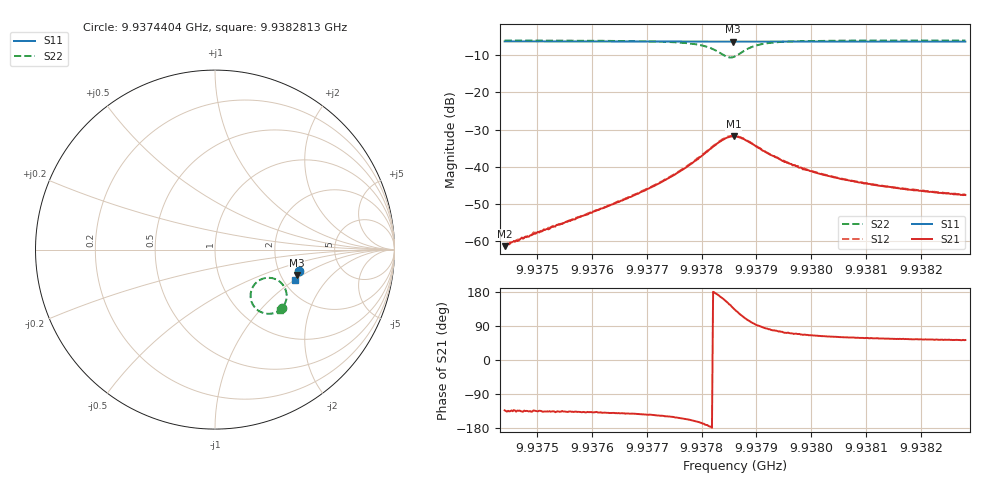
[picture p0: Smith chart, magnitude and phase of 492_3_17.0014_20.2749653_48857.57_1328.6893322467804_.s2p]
#  HZ  S  RI  R  50.00
! Rohde & Schwarz Vector Network Analyzer
! Rohde-Schwarz,ZNB20-2Port,1311601062101988,3.16
! Created: UTC 3/20/2024, 11:14:08 PM
! freq[Hz]  re:S11  im:S11  re:S21  im:S21  re:S12  im:S12  re:S22  im:S22
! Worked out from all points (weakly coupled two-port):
!   401 points, 9.9374404 GHz to 9.9382813 GHz, reference 50 ohm
!   highest |S21| = -31.79 dB at 9.9378587 GHz (marker M1); lowest = -61.3 dB at 9.9374404 GHz (marker M2)
!   lowest |S11| = -6.4 dB at 9.9378566 GHz (marker M3), VSWR 2.83, Z = 122 - j45.3 ohm
!   |S11| at or under -10 dB: nowhere
!   |S22| runs from -10.6 to -6.1 dB; largest |S21 - S12| = 0.0014
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9.9374404e9  0.4685 -0.1178  -0.000586 -0.000632  -0.000615 -0.000626  0.3749 -0.3261
9.93749716e9  0.4671 -0.1216  -0.000892 -0.000906  -0.000955 -0.000896  0.3694 -0.3306
9.93750767e9  0.467 -0.1222  -0.000954 -0.000959  -0.000988 -0.000972  0.3683 -0.3317
9.93758125e9  0.4652 -0.1272  -0.00162 -0.00146  -0.00164 -0.00147  0.3593 -0.3384
9.93766744e9  0.4631 -0.133  -0.00306 -0.00243  -0.00314 -0.00243  0.3423 -0.3481
9.93772209e9  0.4616 -0.1367  -0.005 -0.0033  -0.00516 -0.00331  0.323 -0.3548
9.93776834e9  0.4601 -0.1399  -0.00859 -0.00399  -0.00881 -0.00394  0.291 -0.3575
9.93780618e9  0.4585 -0.1423  -0.015 -0.00249  -0.0153 -0.00239  0.2406 -0.3395
9.937823e9  0.4574 -0.1432  -0.0191 0.000567  -0.0196 0.00106  0.2115 -0.3074
9.93783772e9  0.4568 -0.1433  -0.0219 0.00664  -0.0223 0.00747  0.1983 -0.256
9.93784823e9  0.4564 -0.1434  -0.0217 0.0124  -0.0217 0.0135  0.2097 -0.2105
9.93785664e9  0.4562 -0.1433  -0.0192 0.017  -0.0189 0.0179  0.2356 -0.179
9.93785874e9  0.4563 -0.1434  -0.0183 0.0181  -0.0181 0.0188  0.2438 -0.173
9.93786084e9  0.4564 -0.1433  -0.0174 0.0189  -0.017 0.0198  0.2528 -0.1678
9.93787135e9  0.4567 -0.1436  -0.0121 0.0216  -0.0115 0.0221  0.2992 -0.157
9.93788607e9  0.4572 -0.1445  -0.0052 0.0209  -0.00461 0.0214  0.3509 -0.1717
9.93790919e9  0.4573 -0.1461  0.000678 0.0169  0.00124 0.0172  0.3887 -0.2127
9.93795124e9  0.4568 -0.1497  0.0036 0.011  0.00382 0.0114  0.3991 -0.2636
9.93800169e9  0.4555 -0.1532  0.00369 0.00784  0.00384 0.00785  0.3931 -0.2927
9.93806055e9  0.4541 -0.1572  0.00339 0.00585  0.00353 0.00586  0.3852 -0.3106
9.93814254e9  0.4518 -0.1627  0.003 0.00446  0.00314 0.00445  0.3758 -0.3247
9.93828129e9  0.4479 -0.1716  0.00254 0.00333  0.00266 0.00332  0.3635 -0.3392
